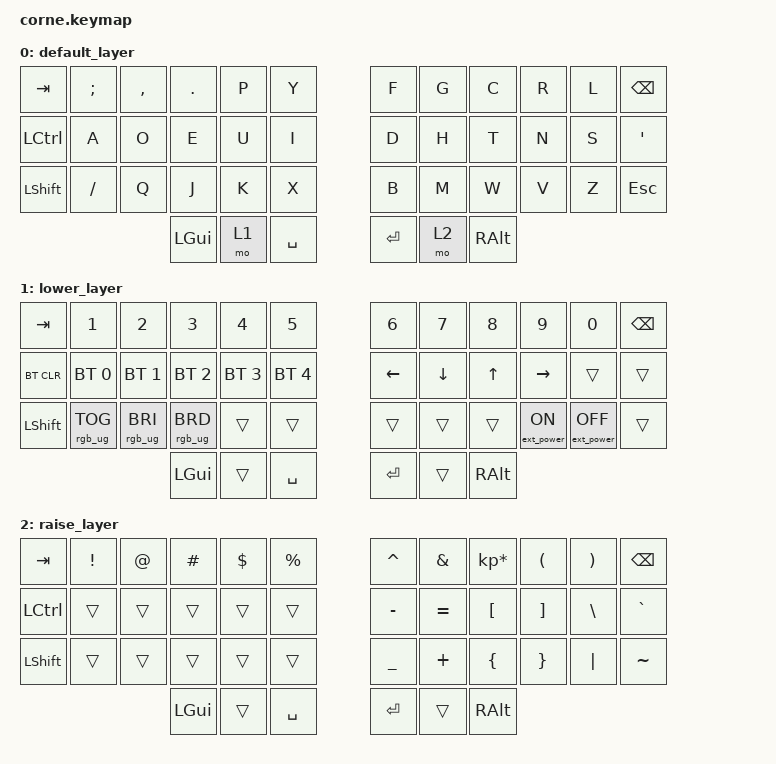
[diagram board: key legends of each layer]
/*
 * Copyright (c) 2020 The ZMK Contributors
 *
 * SPDX-License-Identifier: MIT
 */

#include <behaviors.dtsi>
#include <dt-bindings/zmk/keys.h>
#include <dt-bindings/zmk/bt.h>
#include <dt-bindings/zmk/rgb.h>
#include <dt-bindings/zmk/ext_power.h>

/ {
    keymap {
        compatible = "zmk,keymap";

        default_layer {
            // -----------------------------------------------------------------------------------------
            // |  TAB |  Q  |  W  |  E  |  R  |  T  |   |  Y  |  U   |  I  |  O  |  P  | BKSP |
            // | CTRL |  A  |  S  |  D  |  F  |  G  |   |  H  |  J   |  K  |  L  |  ;  |  '   |
            // | SHFT |  Z  |  X  |  C  |  V  |  B  |   |  N  |  M   |  ,  |  .  |  /  | ESC  |
            //                    | GUI | LWR | SPC |   | ENT | RSE  | ALT |

            bindings = <
  &kp TAB   &kp SEMI  &kp COMMA  &kp PERIOD  &kp P      &kp Y    &kp F  &kp G     &kp C  &kp R  &kp L  &kp BSPC
&kp LCTRL      &kp A      &kp O       &kp E  &kp U      &kp I    &kp D  &kp H     &kp T  &kp N  &kp S   &kp SQT
&kp LSHFT  &kp SLASH      &kp Q       &kp J  &kp K      &kp X    &kp B  &kp M     &kp W  &kp V  &kp Z   &kp ESC
                                   &kp LGUI  &mo 1  &kp SPACE  &kp RET  &mo 2  &kp RALT
            >;
        };

        lower_layer {
            // -----------------------------------------------------------------------------------------
            // |  TAB |  1  |  2  |  3  |  4  |  5  |   |  6  |  7  |  8  |  9  |  0  | BKSP |
            // | BTCLR| BT1 | BT2 | BT3 | BT4 | BT5 |   | LFT | DWN |  UP | RGT |     |      |
            // | SHFT |     |     |     |     |     |   |     |     |     |     |     |      |
            //                    | GUI |     | SPC |   | ENT |     | ALT |

            bindings = <
   &kp TAB           &kp N1           &kp N2           &kp N3        &kp N4        &kp N5    &kp N6    &kp N7    &kp N8            &kp N9             &kp N0  &kp BSPC
&bt BT_CLR     &bt BT_SEL 0     &bt BT_SEL 1     &bt BT_SEL 2  &bt BT_SEL 3  &bt BT_SEL 4  &kp LEFT  &kp DOWN    &kp UP         &kp RIGHT             &trans    &trans
 &kp LSHFT  &rgb_ug RGB_TOG  &rgb_ug RGB_BRI  &rgb_ug RGB_BRD        &trans        &trans    &trans    &trans    &trans  &ext_power EP_ON  &ext_power EP_OFF    &trans
                                                     &kp LGUI        &trans     &kp SPACE   &kp RET    &trans  &kp RALT
            >;
        };

        raise_layer {
            // -----------------------------------------------------------------------------------------
            // |  TAB |  !  |  @  |  #  |  $  |  %  |   |  ^  |  &  |  *  |  (  |  )  | BKSP |
            // | CTRL |     |     |     |     |     |   |  -  |  =  |  [  |  ]  |  \  |  `   |
            // | SHFT |     |     |     |     |     |   |  _  |  +  |  {  |  }  | "|" |  ~   |
            //                    | GUI |     | SPC |   | ENT |     | ALT |

            bindings = <
  &kp TAB  &kp EXCL  &kp AT  &kp HASH  &kp DLLR  &kp PRCNT  &kp CARET   &kp AMPS  &kp KP_MULTIPLY  &kp LPAR  &kp RPAR   &kp BSPC
&kp LCTRL    &trans  &trans    &trans    &trans     &trans  &kp MINUS  &kp EQUAL         &kp LBKT  &kp RBKT  &kp BSLH  &kp GRAVE
&kp LSHFT    &trans  &trans    &trans    &trans     &trans  &kp UNDER   &kp PLUS         &kp LBRC  &kp RBRC  &kp PIPE  &kp TILDE
                             &kp LGUI    &trans  &kp SPACE    &kp RET     &trans         &kp RALT
            >;
        };
    };
};
